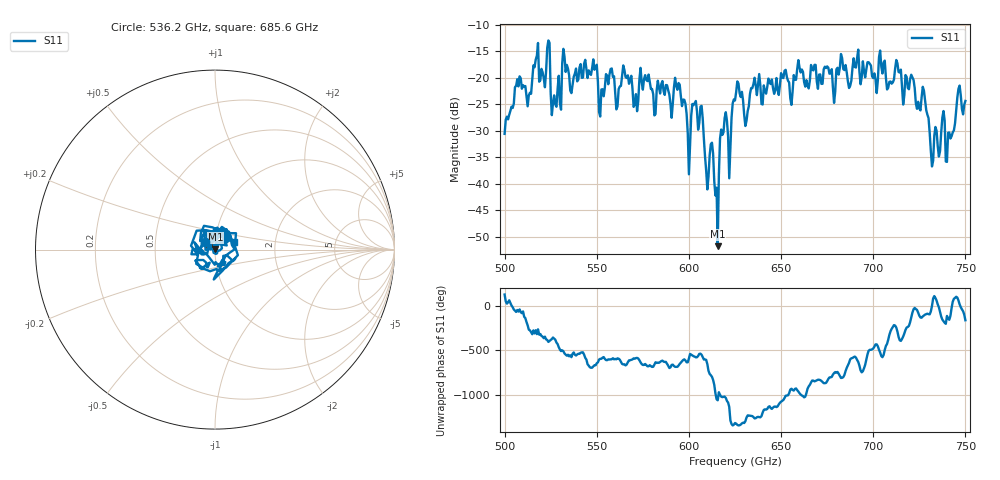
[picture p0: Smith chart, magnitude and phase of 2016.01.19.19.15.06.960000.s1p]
!Created with skrf (http://scikit-rf.org).
# GHz S RI R 50.0
!freq ReS11 ImS11
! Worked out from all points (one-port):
!   401 points, 500 GHz to 750 GHz, reference 50 ohm
!   lowest |S11| = -51.8 dB at 615.6 GHz (marker M1), VSWR 1.01, Z = 50.2 + j0.0743 ohm
!   |S11| at or under -10 dB: start of sweep to end of sweep
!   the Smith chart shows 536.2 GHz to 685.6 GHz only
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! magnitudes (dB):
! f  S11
! 500 GHz  -30.6
! 507.5 GHz  -21.7
! 513.1 GHz  -23.4
! 516.9 GHz  -16.6
! 523.8 GHz  -13.0
! 526.9 GHz  -23.4
! 531.2 GHz  -17.3
! 562.5 GHz  -21.7
! 593.8 GHz  -22.3
! 600 GHz  -38.2
! 602.5 GHz  -25.2
! 606.9 GHz  -25.3
! 609.4 GHz  -37.6
! 612.5 GHz  -32.3
! 615.6 GHz  -51.8
! 618.1 GHz  -30.8
! 621.9 GHz  -39.0
! 625 GHz  -24.3
! 631.2 GHz  -28.2
! 635 GHz  -21.3
! 656.2 GHz  -22.6
! 660 GHz  -18.1
! 687.5 GHz  -21.6
! 690.6 GHz  -18.1
! 718.8 GHz  -22.0
! 727.5 GHz  -22.4
! 731.9 GHz  -36.8
! 750 GHz  -24.4
